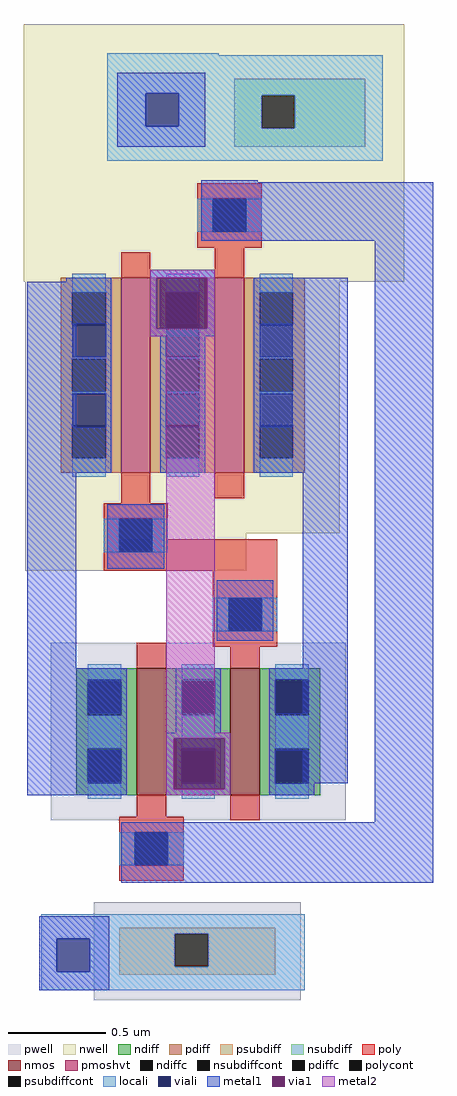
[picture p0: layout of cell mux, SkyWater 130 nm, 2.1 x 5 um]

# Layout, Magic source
magic
tech sky130A
magscale 1 2
<< nwell >>
rect -54 614 336 878
<< pwell >>
rect 18 -122 230 -22
<< psubdiff >>
rect 44 -54 204 -48
rect 44 -88 101 -54
rect 135 -88 204 -54
rect 44 -96 204 -88
<< nsubdiff >>
rect 162 805 296 822
rect 162 771 190 805
rect 224 771 296 805
rect 162 752 296 771
<< psubdiffcont >>
rect 101 -88 135 -54
<< nsubdiffcont >>
rect 190 771 224 805
<< poly >>
rect 28 318 206 350
rect 140 240 206 318
<< locali >>
rect 32 846 146 848
rect 32 807 314 846
rect 32 773 71 807
rect 105 805 314 807
rect 105 773 190 805
rect 32 771 190 773
rect 224 771 314 805
rect 32 738 314 771
rect -36 -54 234 -34
rect -36 -59 101 -54
rect -36 -93 -20 -59
rect 14 -88 101 -59
rect 135 -88 234 -54
rect 14 -93 234 -88
rect -36 -112 234 -93
<< viali >>
rect 71 773 105 807
rect -20 -93 14 -59
<< metal1 >>
rect 42 807 132 828
rect 42 773 71 807
rect 105 773 132 807
rect 42 752 132 773
rect 128 716 186 718
rect 128 656 366 716
rect 76 618 142 626
rect -50 218 0 614
rect 76 566 82 618
rect 134 566 142 618
rect 76 558 142 566
rect 188 418 278 618
rect 32 320 90 386
rect 144 246 202 308
rect -50 88 52 218
rect 92 146 158 152
rect 92 94 100 146
rect 152 94 158 146
rect 232 100 278 418
rect 92 88 158 94
rect 306 60 366 656
rect 46 -2 366 60
rect -38 -59 34 -36
rect -38 -93 -20 -59
rect 14 -93 34 -59
rect -38 -112 34 -93
<< via1 >>
rect 82 566 134 618
rect 100 94 152 146
<< metal2 >>
rect 76 618 142 626
rect 76 566 82 618
rect 134 566 142 618
rect 76 558 142 566
rect 92 152 142 558
rect 92 146 158 152
rect 92 94 100 146
rect 152 94 158 146
rect 92 88 158 94
use sky130_fd_pr__nfet_01v8_PX9ZJG  1
transform 1 0 125 0 1 153
box -151 -153 151 153
use sky130_fd_pr__pfet_01v8_hvt_SH6FHF  2
transform 1 0 109 0 1 518
box -161 -200 161 200
use sky130_fd_pr__nfet_01v8_PX9ZJG  sky130_fd_pr__nfet_01v8_PX9ZJG_0
transform 1 0 125 0 1 153
box -151 -153 151 153
use sky130_fd_pr__nfet_01v8_PX9ZJG  sky130_fd_pr__nfet_01v8_PX9ZJG_1
transform 1 0 125 0 1 153
box -151 -153 151 153
use sky130_fd_pr__nfet_01v8_PX9ZJG  sky130_fd_pr__nfet_01v8_PX9ZJG_2
transform 1 0 125 0 1 153
box -151 -153 151 153
use sky130_fd_pr__nfet_01v8_PX9ZJG  sky130_fd_pr__nfet_01v8_PX9ZJG_3
transform 1 0 125 0 1 153
box -151 -153 151 153
use sky130_fd_pr__nfet_01v8_PX9ZJG  sky130_fd_pr__nfet_01v8_PX9ZJG_4
transform 1 0 125 0 1 153
box -151 -153 151 153
use sky130_fd_pr__pfet_01v8_hvt_SH6FHF  sky130_fd_pr__pfet_01v8_hvt_SH6FHF_0
transform 1 0 109 0 1 518
box -161 -200 161 200
use sky130_fd_pr__pfet_01v8_hvt_SH6FHF  sky130_fd_pr__pfet_01v8_hvt_SH6FHF_1
transform 1 0 109 0 1 518
box -161 -200 161 200
use sky130_fd_pr__pfet_01v8_hvt_SH6FHF  sky130_fd_pr__pfet_01v8_hvt_SH6FHF_2
transform 1 0 109 0 1 518
box -161 -200 161 200
use sky130_fd_pr__pfet_01v8_hvt_SH6FHF  sky130_fd_pr__pfet_01v8_hvt_SH6FHF_3
transform 1 0 109 0 1 518
box -161 -200 161 200
use sky130_fd_pr__pfet_01v8_hvt_SH6FHF  sky130_fd_pr__pfet_01v8_hvt_SH6FHF_4
transform 1 0 109 0 1 518
box -161 -200 161 200
<< properties >>
string GDS_END 9906562
string GDS_FILE /scratch/users/lsammaro/OpenPUF/mag/design_merged.gds
string GDS_START 9891846
<< end >>

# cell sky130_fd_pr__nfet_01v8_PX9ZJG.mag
magic
tech sky130A
magscale 1 2
<< pwell >>
rect -151 -91 151 91
<< nmos >>
rect -63 -65 -33 65
rect 33 -65 63 65
<< ndiff >>
rect -125 51 -63 65
rect -125 17 -113 51
rect -79 17 -63 51
rect -125 -17 -63 17
rect -125 -51 -113 -17
rect -79 -51 -63 -17
rect -125 -65 -63 -51
rect -33 51 33 65
rect -33 17 -17 51
rect 17 17 33 51
rect -33 -17 33 17
rect -33 -51 -17 -17
rect 17 -51 33 -17
rect -33 -65 33 -51
rect 63 51 125 65
rect 63 17 79 51
rect 113 17 125 51
rect 63 -17 125 17
rect 63 -51 79 -17
rect 113 -51 125 -17
rect 63 -65 125 -51
<< ndiffc >>
rect -113 17 -79 51
rect -113 -51 -79 -17
rect -17 17 17 51
rect -17 -51 17 -17
rect 79 17 113 51
rect 79 -51 113 -17
<< poly >>
rect 15 137 81 153
rect 15 103 31 137
rect 65 103 81 137
rect -63 65 -33 91
rect 15 87 81 103
rect 33 65 63 87
rect -63 -87 -33 -65
rect -81 -103 -15 -87
rect 33 -91 63 -65
rect -81 -137 -65 -103
rect -31 -137 -15 -103
rect -81 -153 -15 -137
<< polycont >>
rect 31 103 65 137
rect -65 -137 -31 -103
<< locali >>
rect 15 103 31 137
rect 65 103 81 137
rect -113 53 -79 69
rect -113 -17 -79 17
rect -113 -69 -79 -53
rect -17 53 17 69
rect -17 -17 17 17
rect -17 -69 17 -53
rect 79 53 113 69
rect 79 -17 113 17
rect 79 -69 113 -53
rect -81 -137 -65 -103
rect -31 -137 -15 -103
<< viali >>
rect 31 103 65 137
rect -113 51 -79 53
rect -113 19 -79 51
rect -113 -51 -79 -19
rect -113 -53 -79 -51
rect -17 51 17 53
rect -17 19 17 51
rect -17 -51 17 -19
rect -17 -53 17 -51
rect 79 51 113 53
rect 79 19 113 51
rect 79 -51 113 -19
rect 79 -53 113 -51
rect -65 -137 -31 -103
<< metal1 >>
rect 19 137 77 143
rect 19 103 31 137
rect 65 103 77 137
rect 19 97 77 103
rect -119 53 -73 65
rect -119 19 -113 53
rect -79 19 -73 53
rect -119 -19 -73 19
rect -119 -53 -113 -19
rect -79 -53 -73 -19
rect -119 -65 -73 -53
rect -23 53 23 65
rect -23 19 -17 53
rect 17 19 23 53
rect -23 -19 23 19
rect -23 -53 -17 -19
rect 17 -53 23 -19
rect -23 -65 23 -53
rect 73 53 119 65
rect 73 19 79 53
rect 113 19 119 53
rect 73 -19 119 19
rect 73 -53 79 -19
rect 113 -53 119 -19
rect 73 -65 119 -53
rect -77 -103 -19 -97
rect -77 -137 -65 -103
rect -31 -137 -19 -103
rect -77 -143 -19 -137
<< properties >>
string GDS_END 10065864
string GDS_FILE /scratch/users/lsammaro/OpenPUF/mag/design_merged.gds
string GDS_START 10052804
<< end >>

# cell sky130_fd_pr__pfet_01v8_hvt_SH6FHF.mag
magic
tech sky130A
magscale 1 2
<< nwell >>
rect -65 162 161 200
rect -161 -162 161 162
rect -161 -200 65 -162
<< pmoshvt >>
rect -63 -100 -33 100
rect 33 -100 63 100
<< pdiff >>
rect -125 85 -63 100
rect -125 51 -113 85
rect -79 51 -63 85
rect -125 17 -63 51
rect -125 -17 -113 17
rect -79 -17 -63 17
rect -125 -51 -63 -17
rect -125 -85 -113 -51
rect -79 -85 -63 -51
rect -125 -100 -63 -85
rect -33 85 33 100
rect -33 51 -17 85
rect 17 51 33 85
rect -33 17 33 51
rect -33 -17 -17 17
rect 17 -17 33 17
rect -33 -51 33 -17
rect -33 -85 -17 -51
rect 17 -85 33 -51
rect -33 -100 33 -85
rect 63 85 125 100
rect 63 51 79 85
rect 113 51 125 85
rect 63 17 125 51
rect 63 -17 79 17
rect 113 -17 125 17
rect 63 -51 125 -17
rect 63 -85 79 -51
rect 113 -85 125 -51
rect 63 -100 125 -85
<< pdiffc >>
rect -113 51 -79 85
rect -113 -17 -79 17
rect -113 -85 -79 -51
rect -17 51 17 85
rect -17 -17 17 17
rect -17 -85 17 -51
rect 79 51 113 85
rect 79 -17 113 17
rect 79 -85 113 -51
<< poly >>
rect 15 181 81 197
rect 15 147 31 181
rect 65 147 81 181
rect 15 131 81 147
rect -63 100 -33 126
rect 33 100 63 131
rect -63 -131 -33 -100
rect 33 -126 63 -100
rect -81 -147 -15 -131
rect -81 -181 -65 -147
rect -31 -181 -15 -147
rect -81 -197 -15 -181
<< polycont >>
rect 31 147 65 181
rect -65 -181 -31 -147
<< locali >>
rect 15 147 31 181
rect 65 147 81 181
rect -113 85 -79 104
rect -113 17 -79 19
rect -113 -19 -79 -17
rect -113 -104 -79 -85
rect -17 85 17 104
rect -17 17 17 19
rect -17 -19 17 -17
rect -17 -104 17 -85
rect 79 85 113 104
rect 79 17 113 19
rect 79 -19 113 -17
rect 79 -104 113 -85
rect -81 -181 -65 -147
rect -31 -181 -15 -147
<< viali >>
rect 31 147 65 181
rect -113 51 -79 53
rect -113 19 -79 51
rect -113 -51 -79 -19
rect -113 -53 -79 -51
rect -17 51 17 53
rect -17 19 17 51
rect -17 -51 17 -19
rect -17 -53 17 -51
rect 79 51 113 53
rect 79 19 113 51
rect 79 -51 113 -19
rect 79 -53 113 -51
rect -65 -181 -31 -147
<< metal1 >>
rect 19 181 77 187
rect 19 147 31 181
rect 65 147 77 181
rect 19 141 77 147
rect -119 53 -73 100
rect -119 19 -113 53
rect -79 19 -73 53
rect -119 -19 -73 19
rect -119 -53 -113 -19
rect -79 -53 -73 -19
rect -119 -100 -73 -53
rect -23 53 23 100
rect -23 19 -17 53
rect 17 19 23 53
rect -23 -19 23 19
rect -23 -53 -17 -19
rect 17 -53 23 -19
rect -23 -100 23 -53
rect 73 53 119 100
rect 73 19 79 53
rect 113 19 119 53
rect 73 -19 119 19
rect 73 -53 79 -19
rect 113 -53 119 -19
rect 73 -100 119 -53
rect -77 -147 -19 -141
rect -77 -181 -65 -147
rect -31 -181 -19 -147
rect -77 -187 -19 -181
<< properties >>
string GDS_END 10081678
string GDS_FILE /scratch/users/lsammaro/OpenPUF/mag/design_merged.gds
string GDS_START 10065930
<< end >>
